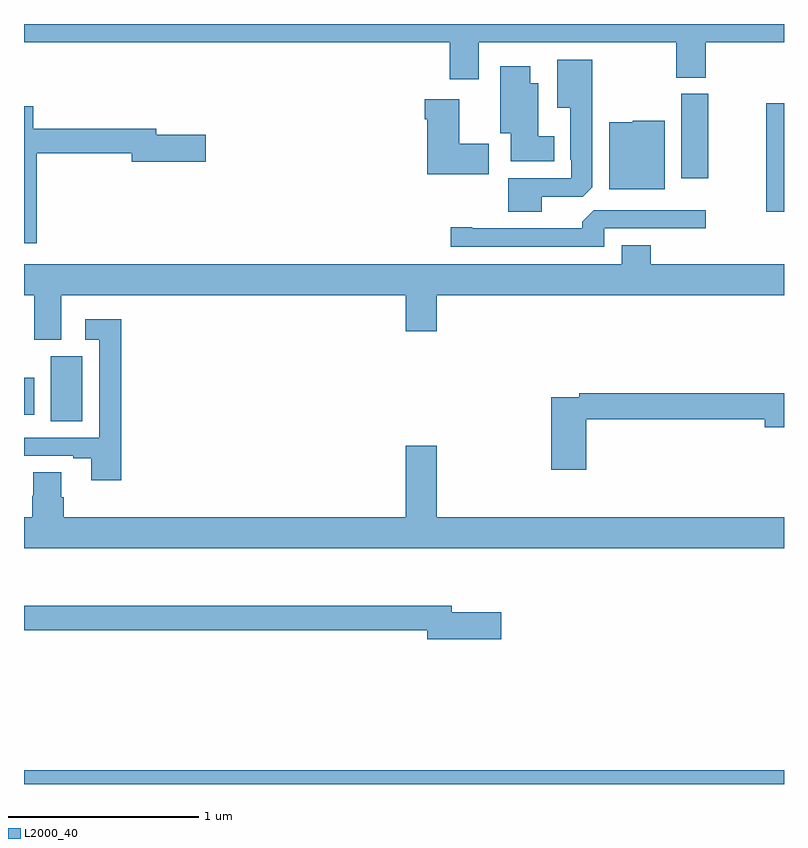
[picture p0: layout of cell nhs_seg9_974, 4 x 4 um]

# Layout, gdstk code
import gdstk
lib = gdstk.Library(unit=1e-6, precision=1e-09)
def R(c, l, rs):  # rectangles x0, y0, x1, y1
    for r in rs: c.add(gdstk.rectangle(r[:2], r[2:], *l))
def P(c, l, *ps):  # polygons
    for p in ps: c.add(gdstk.Polygon(p, *l))
L2000_40 = (2000, 40)

nhs_seg9_974 = lib.new_cell('nhs_seg9_974')
R(nhs_seg9_974, L2000_40, [(163,1208.5,167,1208.572), (163.142,1210.408,163.306,1210.752), (163,1210.443,163.054,1210.639), (166.906,1211.511,167,1212.082), (166.46,1211.688,166.602,1212.132)])
P(nhs_seg9_974, L2000_40, [(163,1212.404),(165.242,1212.404),(165.242,1212.21),(165.394,1212.21),(165.394,1212.404),(166.432,1212.404),(166.432,1212.217),(166.587,1212.217),(166.587,1212.404),(167,1212.404),(167,1212.5),(163,1212.5)],
  [(165.724,1211.592),(165.942,1211.592),(165.991,1211.641),(165.991,1212.313),(165.806,1212.313),(165.806,1212.059),(165.875,1212.059),(165.875,1211.785),(165.879,1211.785),(165.879,1211.688),(165.548,1211.688),(165.548,1211.513),(165.724,1211.513)],
  [(165.79,1211.908),(165.706,1211.908),(165.706,1212.187),(165.664,1212.187),(165.664,1212.277),(165.506,1212.277),(165.506,1211.924),(165.563,1211.924),(165.563,1211.777),(165.79,1211.777)],
  [(165.445,1211.871),(165.292,1211.871),(165.292,1212.103),(165.11,1212.103),(165.11,1211.999),(165.122,1211.999),(165.122,1211.708),(165.445,1211.708)],
  [(163.067,1211.821),(163.568,1211.821),(163.568,1211.774),(163.957,1211.774),(163.957,1211.916),(163.696,1211.916),(163.696,1211.95),(163.048,1211.95),(163.048,1212.067),(163,1212.067),(163,1211.346),(163.067,1211.346)],
  [(166.372,1211.992),(166.203,1211.992),(166.203,1211.983),(166.079,1211.983),(166.079,1211.63),(166.372,1211.63)],
  [(166.053,1211.424),(166.588,1211.424),(166.588,1211.52),(165.999,1211.52),(165.938,1211.458),(165.938,1211.424),(165.358,1211.424),(165.358,1211.429),(165.246,1211.429),(165.246,1211.328),(166.053,1211.328)],
  [(163,1211.072),(163.055,1211.072),(163.055,1210.837),(163.195,1210.837),(163.195,1211.072),(165.008,1211.072),(165.008,1210.884),(165.172,1210.884),(165.172,1211.072),(167,1211.072),(167,1211.236),(166.298,1211.236),(166.298,1211.335),(166.145,1211.335),(166.145,1211.236),(163,1211.236)],
  [(163.511,1210.945),(163.323,1210.945),(163.323,1210.839),(163.395,1210.839),(163.395,1210.323),(163,1210.323),(163,1210.227),(163.259,1210.227),(163.259,1210.215),(163.355,1210.215),(163.355,1210.098),(163.511,1210.098)],
  [(165.959,1210.42),(166.898,1210.42),(166.898,1210.378),(167,1210.378),(167,1210.556),(165.922,1210.556),(165.922,1210.536),(165.776,1210.536),(165.776,1210.155),(165.959,1210.155)],
  [(167,1209.904),(165.172,1209.904),(165.172,1210.279),(165.008,1210.279),(165.008,1209.904),(163.208,1209.904),(163.208,1210.01),(163.195,1210.01),(163.195,1210.142),(163.048,1210.142),(163.048,1210.017),(163.043,1210.017),(163.043,1209.904),(163,1209.904),(163,1209.74),(167,1209.74)],
  [(165.511,1209.405),(165.25,1209.405),(165.25,1209.439),(163,1209.439),(163,1209.31),(165.122,1209.31),(165.122,1209.263),(165.511,1209.263)])

lib.write_gds('nhs_seg9_974.gds')
